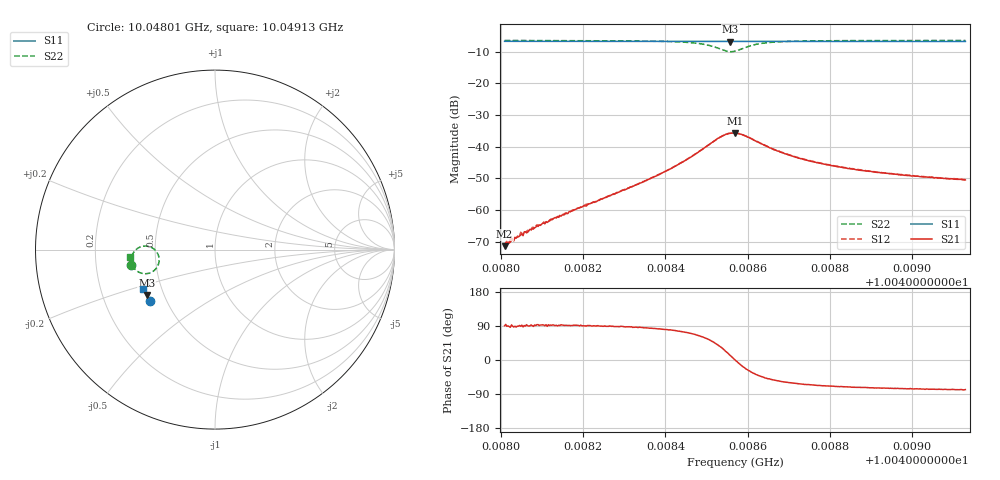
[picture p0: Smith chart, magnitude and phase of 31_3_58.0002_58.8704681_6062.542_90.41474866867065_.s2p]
#  HZ  S  RI  R  50.00
! Rohde & Schwarz Vector Network Analyzer
! Rohde-Schwarz,ZNB20-2Port,1311601062101988,3.16
! Created: UTC 3/21/2024, 12:51:42 AM
! freq[Hz]  re:S11  im:S11  re:S21  im:S21  re:S12  im:S12  re:S22  im:S22
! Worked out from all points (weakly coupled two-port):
!   401 points, 10.04801 GHz to 10.04913 GHz, reference 50 ohm
!   highest |S21| = -35.68 dB at 10.04857 GHz (marker M1); lowest = -71.4 dB at 10.04801 GHz (marker M2)
!   lowest |S11| = -6.8 dB at 10.04856 GHz (marker M3), VSWR 2.68, Z = 20.1 - j12.8 ohm
!   |S11| at or under -10 dB: nowhere
!   |S22| runs from -10.0 to -6.5 dB; largest |S21 - S12| = 0.0012
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1.0048009e10  -0.3615 -0.2838  -1.41e-06 0.000268  -3.54e-05 0.000276  -0.4665 -0.0837
1.004802e10  -0.3619 -0.2833  9.6e-06 0.000299  8.16e-07 0.000306  -0.4667 -0.0826
1.004804e10  -0.3626 -0.2822  6.26e-06 0.000372  -4.26e-05 0.00038  -0.4669 -0.0808
1.0048054e10  -0.3632 -0.2813  1.83e-05 0.000393  -4.21e-06 0.000438  -0.4669 -0.0794
1.0048068e10  -0.3638 -0.2807  2.71e-06 0.000471  -2.93e-05 0.000467  -0.4672 -0.0781
1.0048082e10  -0.3641 -0.28  -2.21e-05 0.000523  -4.95e-05 0.00052  -0.4673 -0.0765
1.0048127e10  -0.366 -0.2776  -3.98e-05 0.000729  -6.76e-05 0.00071  -0.4674 -0.0716
1.0048197e10  -0.3688 -0.2736  -1.05e-05 0.00111  -5.45e-05 0.00111  -0.4674 -0.0633
1.0048306e10  -0.3728 -0.2675  8.6e-05 0.00215  -2.14e-05 0.00217  -0.4656 -0.0464
1.0048384e10  -0.3757 -0.2632  0.000485 0.00356  0.000296 0.00365  -0.46 -0.028
1.0048449e10  -0.378 -0.2592  0.00177 0.0058  0.00143 0.00592  -0.4445 -0.00415
1.0048513e10  -0.3798 -0.2553  0.00757 0.00877  0.00696 0.00923  -0.3849 0.0198
1.0048541e10  -0.3801 -0.2536  0.0133 0.00714  0.0128 0.00788  -0.3331 -0.00348
1.0048558e10  -0.3803 -0.2529  0.016 0.00331  0.0157 0.00427  -0.3125 -0.0424
1.0048569e10  -0.3807 -0.2528  0.0164 4.33e-05  0.0164 0.00115  -0.3129 -0.0733
1.00486e10  -0.382 -0.2517  0.0127 -0.0062  0.0132 -0.00547  -0.3572 -0.1277
1.0048639e10  -0.3839 -0.2498  0.0074 -0.00757  0.00803 -0.00728  -0.411 -0.1311
1.0048684e10  -0.3856 -0.2473  0.00435 -0.0067  0.00483 -0.00649  -0.4398 -0.1152
1.0048757e10  -0.3885 -0.2431  0.00238 -0.00528  0.00271 -0.00523  -0.4576 -0.0936
1.0048838e10  -0.3911 -0.2382  0.00153 -0.00435  0.00179 -0.00431  -0.4652 -0.0776
1.0048944e10  -0.3946 -0.2321  0.00098 -0.00362  0.00121 -0.00356  -0.4695 -0.0628
1.0049129e10  -0.4006 -0.2212  0.000617 -0.00292  0.000777 -0.00291  -0.4726 -0.0435
